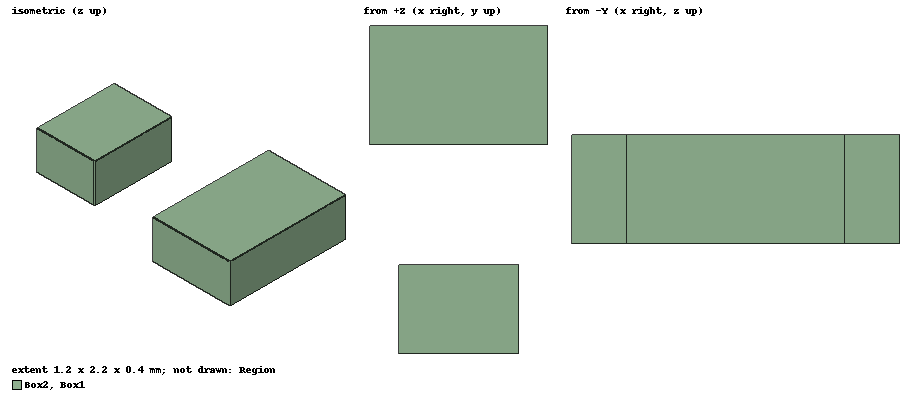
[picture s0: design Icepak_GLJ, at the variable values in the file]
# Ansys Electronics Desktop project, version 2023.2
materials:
  Al-Extruded: thermal_conductivity=205 mass_density=2800 specific_heat=900 youngs_modulus=69000000000 poissons_ratio=0.33 thermal_expansion_coefficient=2.277e-06 thermal_material_type=Solid
  air: permittivity=1.0006 permeability=1.0000004 thermal_conductivity=0.0261 mass_density=1.1614 specific_heat=1005 thermal_expansion_coefficient=0.00333 thermal_material_type=Fluid diffusivity=2.88e-05 molecular_mass=0.028966 viscosity=1.84e-05 material_refractive_index=1.000293
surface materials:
  Steel-oxidised-surface: surface_emissivity=0.8

design Icepak_GLJ (Icepak, SteadyState TemperatureAndFlow, model units mm)
options: Default_Fluid_Material=air Default_Solid_Material=Al-Extruded Default_Surface_Material=Steel-oxidised-surface AmbientTemperature=20cel AmbientPressure=0n_per_meter_sq AmbientRadiationTemperature=20cel Gravity_Vector_CS_ID=Global Gravity_Vector_Axis=Z Positive=false Altitude=0meter
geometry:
  Region [air] = region(percentage_offset=50 on all sides)
  Box1 [Al-Extruded] = box(corner=(0.6mm, -1mm, 0mm), size=(0.8mm, 0.6mm, 0.4mm))
  Box2 [Al-Extruded] = box(corner=(0.4mm, 0.4mm, 0mm), size=(1.2mm, 0.8mm, 0.4mm))
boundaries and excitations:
  Network1: Network Faces=Box1.face(+x, +z, +y) Box2.face(+x, +z, +y) Nodes{Face35{FaceID=Box1.face(+z) ThermalResistance=NoResistance Thickness=1mm Material=Al-Extruded Resistance=0cel_per_w} Face39{FaceID=Box1.face(+y) ThermalResistance=NoResistance Thickness=1mm Material=Al-Extruded Resistance=0cel_per_w} Face40{FaceID=Box1.face(+x) ThermalResistance=NoResistance Thickness=1mm Material=Al-Extruded Resistance=0cel_per_w} Face63{FaceID=Box2.face(+z) ThermalResistance=NoResistance Thickness=1mm Material=Al-Extruded Resistance=0cel_per_w} Face67{FaceID=Box2.face(+y) ThermalResistance=NoResistance Thickness=1mm Material=Al-Extruded Resistance=0cel_per_w} Face68{FaceID=Box2.face(+x) ThermalResistance=NoResistance Thickness=1mm Material=Al-Extruded Resistance=0cel_per_w} Internal{NodeType=InternalNode Power=0W Mass=0.001kg SpecificHeat=1000J_per_Kelkg}} Links{Link2(Face35, Internal, R-Link, R, 1cel_per_w) Link(Face39, Internal, R-Link, R, 1cel_per_w) Link1(Face40, Internal, R-Link, R, 1cel_per_w) Link3(Face63, Internal, R-Link, R, 1cel_per_w) Link4(Face67, Internal, R-Link, R, 1cel_per_w) Link5(Face68, Internal, R-Link, R, 1cel_per_w)} SchematicData{Face39{SchCompInst(0, 0.01016, 0) PropDisplayMap{Name(4, 5, 0, "Text(-0.00266035, 0.00759719, 0, 1, 5, false, 'Arial', 0, 'Face39', false, false, ExtentRect(0, 0, 0, 0, -0.0001254212620667, 0.00812330728523144, 0.0050698574758666, 0.00172183838803016, 0, 0, 0))")}} Face40{SchCompInst(0, 0.00508, 0) PropDisplayMap{Name(4, 5, 0, "Text(-0.00266035, 0.00251719, 0, 1, 5, false, 'Arial', 0, 'Face40', false, false, ExtentRect(0, 0, 0, 0, -0.0001254212620667, 0.00304330728523144, 0.0050698574758666, 0.00172183838803016, 0, 0, 0))")}} Face35{SchCompInst(0, 0.01524, 0) PropDisplayMap{Name(4, 5, 0, "Text(-0.00266035, 0.01267719, 0, 1, 5, false, 'Arial', 0, 'Face35', false, false, ExtentRect(0, 0, 0, 0, -0.000125421262066702, 0.0132033072852314, 0.0050698574758666, 0.00172183838803016, 0, 0, 0))")}} Internal{SchCompInst(0.03302, -0.00254, 0) PropDisplayMap{Name(4, 5, 0, "Text(0.03035965, -0.00684881, 0, 1, 5, false, 'Arial', 0, 'Internal', false, false, ExtentRect(0, 0, 0, 0, 0.0328945787379333, -0.00632269271476856, 0.0050698574758666, 0.00172183838803016, 0, 0, 0))")}} Face68{SchCompInst(0, -0.02032, 0) PropDisplayMap{Name(4, 5, 0, "Text(-0.00266035, -0.02288281, 0, 1, 5, false, 'Arial', 0, 'Face68', false, false, ExtentRect(0, 0, 0, 0, -0.0001254212620667, -0.0223566927147686, 0.0050698574758666, 0.00172183838803016, 0, 0, 0))")}} Face67{SchCompInst(0, -0.01524, 0) PropDisplayMap{Name(4, 5, 0, "Text(-0.00266035, -0.01780281, 0, 1, 5, false, 'Arial', 0, 'Face67', false, false, ExtentRect(0, 0, 0, 0, -0.0001254212620667, -0.0172766927147686, 0.0050698574758666, 0.00172183838803016, 0, 0, 0))")}} Face63{SchCompInst(0, -0.01016, 0) PropDisplayMap{Name(4, 5, 0, "Text(-0.00266035, -0.01272281, 0, 1, 5, false, 'Arial', 0, 'Face63', false, false, ExtentRect(0, 0, 0, 0, -0.0001254212620667, -0.0121966927147686, 0.0050698574758666, 0.00172183838803016, 0, 0, 0))")}} Link5{SchCompInst(0.0127, -0.02032, 0) PropDisplayMap{Name(4, 5, 0, "Text(0.01130965, -0.02289881, 0, 1, 5, false, 'Arial', 0, 'Link5', false, false, ExtentRect(0, 0, 0, 0, 0.01315106049831, -0.0223726927147686, 0.00368282099662007, 0.00172183838803016, 0, 0, 0))")}} Link3{SchCompInst(0.0127, -0.01016, 0) PropDisplayMap{Name(4, 5, 0, "Text(0.01130965, -0.01273881, 0, 1, 5, false, 'Arial', 0, 'Link3', false, false, ExtentRect(0, 0, 0, 0, 0.01315106049831, -0.0122126927147686, 0.00368282099662007, 0.00172183838803016, 0, 0, 0))")}} Link{SchCompInst(0.0127, 0.01016, 0) PropDisplayMap{Name(4, 5, 0, "Text(0.01130965, 0.00758119, 0, 1, 5, false, 'Arial', 0, 'Link', false, false, ExtentRect(0, 0, 0, 0, 0.0127206009013025, 0.00810730728523144, 0.00282190180260499, 0.00172183838803016, 0, 0, 0))")}} Link1{SchCompInst(0.0127, 0.00508, 0) PropDisplayMap{Name(4, 5, 0, "Text(0.01130965, 0.00250119, 0, 1, 5, false, 'Arial', 0, 'Link1', false, false, ExtentRect(0, 0, 0, 0, 0.01315106049831, 0.00302730728523144, 0.00368282099662007, 0.00172183838803016, 0, 0, 0))")}} Link2{SchCompInst(0.0127, 0.01524, 0) PropDisplayMap{Name(4, 5, 0, "Text(0.01130965, 0.01266119, 0, 1, 5, false, 'Arial', 0, 'Link2', false, false, ExtentRect(0, 0, 0, 0, 0.01315106049831, 0.0131873072852314, 0.00368282099662007, 0.00172183838803016, 0, 0, 0))")}} Link4{SchCompInst(0.0127, -0.01524, 0) PropDisplayMap{Name(4, 5, 0, "Text(0.01130965, -0.01781881, 0, 1, 5, false, 'Arial', 0, 'Link4', false, false, ExtentRect(0, 0, 0, 0, 0.01315106049831, -0.0172926927147686, 0.00368282099662007, 0.00172183838803016, 0, 0, 0))")}} WireData{Page{PageNet{NetName=Internal WireSeg(0.01778, 0.01524, 0.03302, 0.01524, 8) WireSeg(0.03302, 0.01524, 0.03302, 0.01016, 9) WireSeg(0.01778, 0.01016, 0.03302, 0.01016, 10) WireSeg(0.03302, 0.01016, 0.03302, 0.00508, 9) WireSeg(0.01778, 0.00508, 0.03302, 0.00508, 11) WireSeg(0.03302, 0.00508, 0.03302, -0.00254, 9) WireSeg(0.01778, -0.01016, 0.03302, -0.01016, 18) WireSeg(0.03302, -0.01016, 0.03302, -0.00254, 19) WireSeg(0.01778, -0.02032, 0.03302, -0.02032, 20) WireSeg(0.03302, -0.02032, 0.03302, -0.01524, 21) WireSeg(0.01778, -0.01524, 0.03302, -0.01524, 22) WireSeg(0.03302, -0.01524, 0.03302, -0.01016, 21) PC(67, n2) PC(61, n1) PC(63, n2) PC(65, n2) PC(69, n2) PC(73, n2) PC(71, n2)} PageNet{NetName=Face35 WireSeg(0.00762, 0.01524, 0, 0.01524, 12) PC(67, n1) PC(7, n1)} PageNet{NetName=Face39 WireSeg(0.00762, 0.01016, 0, 0.01016, 13) PC(63, n1) PC(8, n1)} PageNet{NetName=Face40 WireSeg(0.00762, 0.00508, 0, 0.00508, 14) PC(65, n1) PC(9, n1)} PageNet{NetName=Face63 WireSeg(0, -0.01016, 0.00762, -0.01016, 15) PC(69, n1) PC(10, n1)} PageNet{NetName=Face67 WireSeg(0, -0.01524, 0.00762, -0.01524, 16) PC(71, n1) PC(11, n1)} PageNet{NetName=Face68 WireSeg(0, -0.02032, 0.00762, -0.02032, 17) PC(73, n1) PC(12, n1)}}} NodeTailsHidden}
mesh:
  MeshRegions:  Global{MeshMethod=MesherHD ComputeGap MeshRegionResolution=3 MinGapX=1mm MinGapY=1mm MinGapZ=1mm Objects=Region FacetLevel=3 ProximitySizeFunction CurvatureSizeFunction OptimizePCBMesh}
  MeshOperations:
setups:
  Setup1: IcepakSteadyState Flow_Regime=Laminar Include_Temperature=true Include_Flow=true Convergence_Criteria_-_Flow=0.001 Convergence_Criteria_-_Energy=1e-07 disabled Radiation_Model=Off Under-relaxation_-_Pressure=0.3 Under-relaxation_-_Momentum=0.7 Under-relaxation_-_Temperature=1 Discretization_Scheme_-_Pressure=Standard Discretization_Scheme_-_Momentum=First Discretization_Scheme_-_Temperature=First Convergence_Criteria_-_Max_Iterations=100
